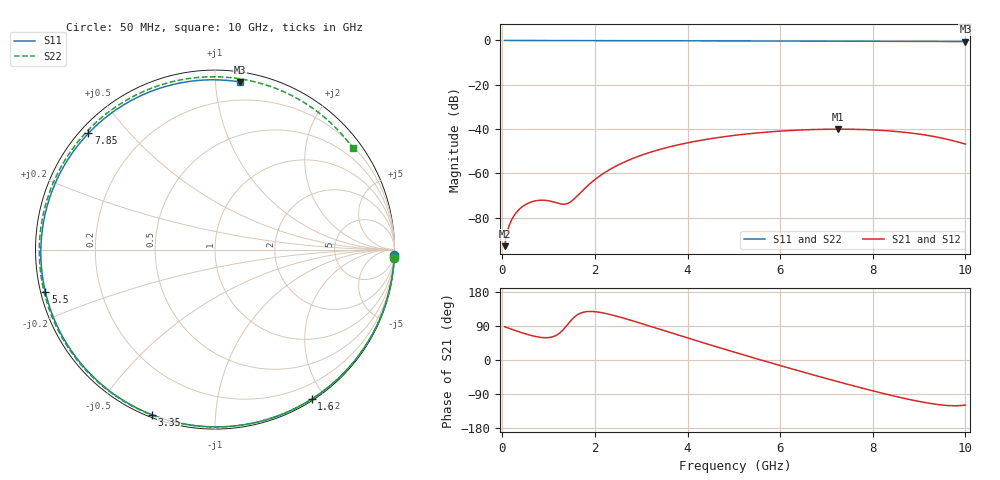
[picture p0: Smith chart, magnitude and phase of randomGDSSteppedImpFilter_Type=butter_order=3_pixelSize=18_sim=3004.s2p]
! freq	dB(S11)	phase(S11)	dB(S12)	phase(S12)
!  dB(S21)	phase(S21)	dB(S22)	phase(S22)
!S-par simulation data
#  GHz  S  DB  R 50
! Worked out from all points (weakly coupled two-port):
!   200 points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, 50 MHz to 10 GHz, reference 50 ohm
!   highest |S21| = -40.08 dB at 7.25 GHz (marker M1); lowest = -92.9 dB at 50 MHz (marker M2)
!   lowest |S11| = -0.5 dB at 10 GHz (marker M3), VSWR 34.95, Z = 3.35 + j57.8 ohm
!   |S11| at or under -10 dB: nowhere
!   |S22| runs from -0.4 to 0.0 dB; largest |S21 - S12| = 0
!   S11 on the Smith chart (normalised r, x): 50 MHz: 0, -61; 1.6 GHz: 0.02, -1.83; 3.35 GHz: 0.01, -0.69; 5.5 GHz: 0.01, -0.12; 7.85 GHz: 0.02, +0.39; 10 GHz: 0.07, +1.16
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0.05  -0.00 -1.9  -92.94 87.8  -92.94 87.8  -0.00 -2.7
0.2  -0.01 -7.4  -81.08 81.2  -81.08 81.2  -0.02 -10.7
0.45  -0.02 -16.6  -74.84 70.9  -74.84 70.9  -0.03 -23.7
0.65  -0.03 -23.9  -72.80 63.9  -72.80 63.9  -0.04 -34.0
0.9  -0.04 -32.8  -72.19 58.9  -72.19 58.9  -0.06 -46.5
1.35  -0.06 -48.7  -73.94 84.8  -73.94 84.8  -0.08 -67.8
1.6  -0.07 -57.2  -70.63 117.6  -70.63 117.6  -0.09 -78.8
1.75  -0.08 -62.2  -67.48 126.1  -67.48 126.1  -0.10 -85.1
2.05  -0.09 -72.0  -62.05 126.8  -62.05 126.8  -0.11 -97.2
2.4  -0.10 -83.0  -57.38 117.9  -57.38 117.9  -0.12 -110.4
2.9  -0.12 -98.1  -52.64 100.2  -52.64 100.2  -0.13 -127.6
3.35  -0.13 -111.0  -49.54 83.0  -49.54 83.0  -0.14 -141.7
3.4  -0.13 -112.4  -49.24 81.1  -49.24 81.1  -0.14 -143.3
4.2  -0.16 -133.8  -45.44 50.7  -45.44 50.7  -0.17 -166.1
5.05  -0.20 -155.1  -42.79 19.2  -42.79 19.2  -0.20 171.6
5.5  -0.23 -166.1  -41.79 3.0  -41.79 3.0  -0.22 160.2
6.7  -0.30 165.3  -40.26 -38.8  -40.26 -38.8  -0.27 130.1
7.25  -0.33 152.1  -40.08 -57.3  -40.08 -57.3  -0.29 115.9
7.85  -0.37 137.4  -40.29 -76.7  -40.29 -76.7  -0.31 100.0
8.35  -0.41 124.9  -40.86 -91.9  -40.86 -91.9  -0.33 86.3
9.2  -0.46 103.0  -42.95 -113.8  -42.95 -113.8  -0.37 61.6
10  -0.50 81.6  -46.81 -119.0  -46.81 -119.0  -0.41 36.5
